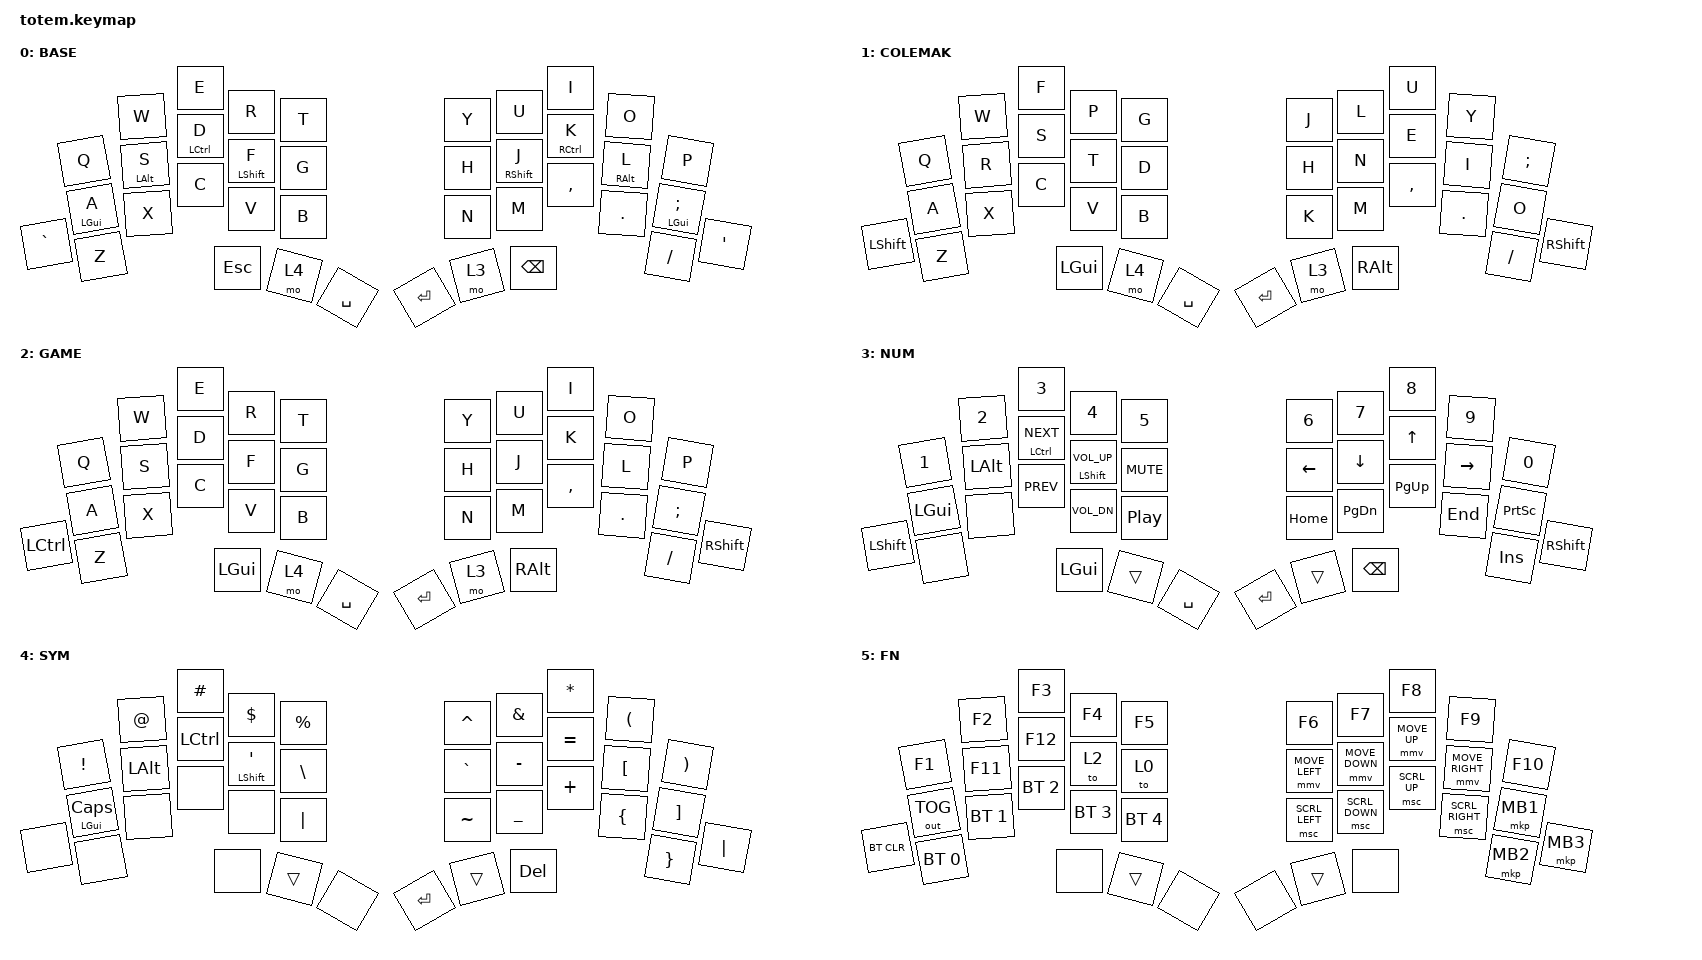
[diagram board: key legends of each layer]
// Mouse keys as fast as on the QH42 (Vial mousekey settings: delta 8 px per
// 20 ms report, max speed x10, 30 reports to reach it -> about 4000 px/s after
// 0.6 s; wheel 1 notch per 80 ms up to 8, reached after 3.2 s -> 100 notches/s).
// ZMK's defaults are 600 px/s after 0.3 s and a flat 10 notches/s. These must
// be defined before pointing.h, which only sets them #ifndef.

#define ZMK_POINTING_DEFAULT_MOVE_VAL 4000
#define ZMK_POINTING_DEFAULT_SCRL_VAL 100

#include <behaviors.dtsi>
#include <dt-bindings/zmk/bt.h>
#include <dt-bindings/zmk/keys.h>
#include <dt-bindings/zmk/outputs.h>
#include <dt-bindings/zmk/pointing.h>

#define BASE    0
#define COLEMAK 1
#define GAME    2
#define NUM     3
#define SYM     4
#define FN      5

// Home-row mods, ported from the QH42 Vial config. The numbers below are the
// QH42's live Tap-Hold settings as of 2026-11-05, read off the Vial GUI itself
// rather than a backup file:
//
//   Tapping Term             (qsid 7)           300
//   Permissive Hold          (qsid 8, bit 0)    on
//   Ignore Mod Tap Interrupt (qsid 8, bit 1)    on
//   Tapping Force Hold       (qsid 8, bit 2)    on
//   Retro Tapping            (qsid 8, bit 3)    off
//
// The term stood at 200 here, which was correct for
// ~/qh42-backup/live-after-20261020.vil; it has since been raised on the QH42,
// and the point of this port is that the two boards feel the same. Before that
// it briefly read 175, which was a misread of the same backup - that is Auto
// Shift's timeout (qsid 4), and Auto Shift itself was switched off.
//
// A longer term makes a hold easier to reach deliberately and a tap harder to
// trigger by accident, at the cost of the modifier landing later. With
// "balanced" that cost is only paid for a chord that is held without pressing
// anything else - a chord that does press another key resolves immediately, so
// the 300 is nowhere near 300ms of felt lag while typing.
//
// Permissive Hold together with Ignore Mod Tap Interrupt is exactly what ZMK
// calls "balanced" - a key tapped inside the hold resolves it at once, while a
// mere interrupting press does not. The old "tap-preferred" had no equivalent
// of Permissive Hold at all, so every home-row chord sat out the whole tapping
// term before the modifier landed. That is up to 175ms of delay per chord that
// Vial never charged, and it is the "unpleasant lag" this config was accused of.
//
// quick-tap-ms: tap a home-row key, then press and hold it again within
// 300 ms, and it auto-repeats the letter instead of becoming the modifier.
// That is how the QH42 actually behaved (user-verified, 2026-11-06), even
// though Vial showed Tapping Force Hold on - KMK's HoldTap repeats the tap
// within tap_time, so 300 = the tapping term, as there.
//
// One property is deliberately absent rather than set:
//   - require-prior-idle-ms has no counterpart in Vial. It was invented during
//     the port, and all it did was paper over the delay above while typing fast,
//     which is why the lag came and went.

&mmv { time-to-max-speed-ms = <600>; };

&msc { time-to-max-speed-ms = <3200>; };

&mt {
    flavor = "balanced";
    tapping-term-ms = <300>;
    quick-tap-ms = <300>;
};

// ZMK's stock &gresc is a mod-morph with no keep-mods, and a mod-morph strips
// the modifier that triggered it. So Shift+Esc sent a bare GRAVE (`) instead of
// TILDE (~). Keeping the shift mods restores the behaviour everyone expects.
// GUI is deliberately left out: GUI+Esc keeps sending a plain `, and the host
// never sees GUI+grave, which is a window-switching shortcut on some desktops.

&gresc { keep-mods = <(MOD_LSFT|MOD_RSFT)>; };

/ {
    combos {
        compatible = "zmk,combos";

        // D + F -> Tab, as on the QH42.

        combo_tab {
            timeout-ms = <50>;
            key-positions = <12 13>;
            bindings = <&kp TAB>;
        };

        // Unlocking ZMK Studio. On a combo rather than its own key: the FN
        // layer has no free slots left, and the two ends of the BT_SEL row
        // are never pressed together by accident.

        combo_studio_unlock {
            timeout-ms = <80>;
            layers = <FN>;
            key-positions = <21 25>;
            bindings = <&studio_unlock>;
        };
    };

    keymap {
        compatible = "zmk,keymap";

        base_layer {
            display-name = "BASE";

            // The right pinky home-row mod sends LEFT GUI, not right: Windows
            // treats the two as separate keys and a good deal of software only
            // listens for the left one, so shortcuts fired from the right hand
            // silently did nothing there. Every other home-row mod keeps its
            // own side.

            bindings = <
           &kp Q       &kp W       &kp E        &kp R        &kp T        &kp Y    &kp U        &kp I        &kp O       &kp P
           &mt LGUI A  &mt LALT S  &mt LCTRL D  &mt LSHFT F  &kp G        &kp H    &mt RSHFT J  &mt RCTRL K  &mt RALT L  &mt LGUI SEMI
&kp GRAVE  &kp Z       &kp X       &kp C        &kp V        &kp B        &kp N    &kp M        &kp COMMA    &kp DOT     &kp FSLH       &kp SQT
                                   &kp ESC      &mo 4        &kp SPACE    &kp RET  &mo 3        &kp BSPC
            >;
        };

        colemak_layer {
            display-name = "COLEMAK";
            bindings = <
           &kp Q  &kp W  &kp F     &kp P  &kp G        &kp J    &kp L  &kp U      &kp Y    &kp SEMI
           &kp A  &kp R  &kp S     &kp T  &kp D        &kp H    &kp N  &kp E      &kp I    &kp O
&kp LSHFT  &kp Z  &kp X  &kp C     &kp V  &kp B        &kp K    &kp M  &kp COMMA  &kp DOT  &kp FSLH  &kp RSHFT
                         &kp LGUI  &mo 4  &kp SPACE    &kp RET  &mo 3  &kp RALT
            >;
        };

        game_layer {
            display-name = "GAME";
            bindings = <
           &kp Q  &kp W  &kp E     &kp R  &kp T        &kp Y    &kp U  &kp I      &kp O    &kp P
           &kp A  &kp S  &kp D     &kp F  &kp G        &kp H    &kp J  &kp K      &kp L    &kp SEMI
&kp LCTRL  &kp Z  &kp X  &kp C     &kp V  &kp B        &kp N    &kp M  &kp COMMA  &kp DOT  &kp FSLH  &kp RSHFT
                         &kp LGUI  &mo 4  &kp SPACE    &kp RET  &mo 3  &kp RALT
            >;
        };

        num_layer {
            display-name = "NUM";
            bindings = <
           &kp N1    &kp N2    &kp N3            &kp N4              &kp N5        &kp N6    &kp N7     &kp N8         &kp N9     &kp N0
           &kp LGUI  &kp LALT  &mt LCTRL C_NEXT  &mt LSHFT C_VOL_UP  &kp C_MUTE    &kp LEFT  &kp DOWN   &kp UP         &kp RIGHT  &kp PSCRN
&kp LSHFT  &none     &none     &kp C_PREV        &kp C_VOL_DN        &kp C_PP      &kp HOME  &kp PG_DN  &kp PG_UP      &kp END    &kp INS    &kp RSHFT
                               &kp LGUI          &trans              &kp SPACE     &kp RET   &trans     &kp BACKSPACE
            >;
        };

        sym_layer {
            display-name = "SYM";
            bindings = <
       &kp EXCL       &kp AT    &kp HASH   &kp DLLR       &kp PRCNT    &kp CARET  &kp AMPS   &kp STAR   &kp LPAR  &kp RPAR
       &mt LGUI CAPS  &kp LALT  &kp LCTRL  &mt LSHFT SQT  &kp BSLH     &kp GRAVE  &kp MINUS  &kp EQUAL  &kp LBKT  &kp RBKT
&none  &none          &none     &none      &none          &kp PIPE     &kp TILDE  &kp UNDER  &kp PLUS   &kp LBRC  &kp RBRC  &kp PIPE
                                &none      &trans         &none        &kp ENTER  &trans     &kp DEL
            >;
        };

        fn_layer {
            display-name = "FN";
            bindings = <
            &kp F1        &kp F2        &kp F3        &kp F4        &kp F5          &kp F6          &kp F7          &kp F8        &kp F9           &kp F10
            &out OUT_TOG  &kp F11       &kp F12       &to 2         &to 0           &mmv MOVE_LEFT  &mmv MOVE_DOWN  &mmv MOVE_UP  &mmv MOVE_RIGHT  &mkp MB1
&bt BT_CLR  &bt BT_SEL 0  &bt BT_SEL 1  &bt BT_SEL 2  &bt BT_SEL 3  &bt BT_SEL 4    &msc SCRL_LEFT  &msc SCRL_DOWN  &msc SCRL_UP  &msc SCRL_RIGHT  &mkp MB2  &mkp MB3
                                        &none         &trans        &none           &none           &trans          &none
            >;
        };
    };

    conditional_layers {
        compatible = "zmk,conditional-layers";

        Function {
            if-layers = <3 4>;
            then-layer = <5>;
        };
    };
};
